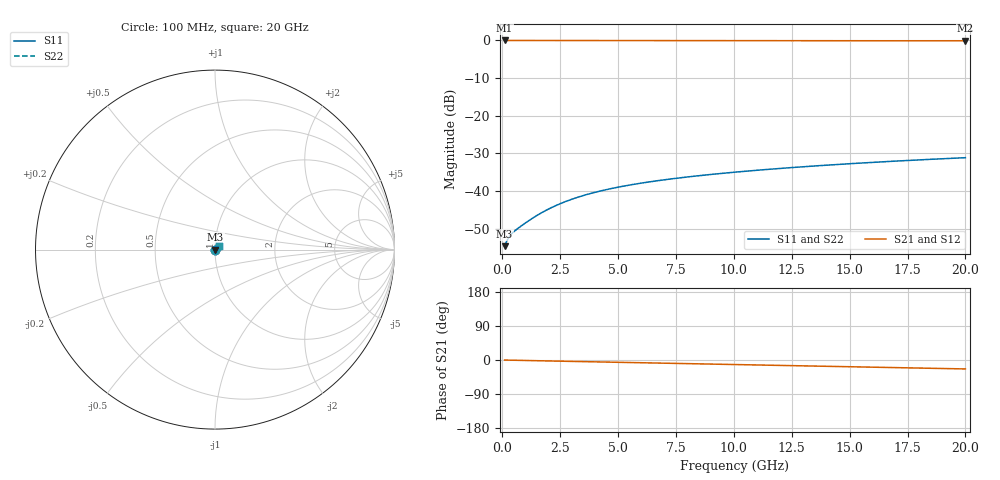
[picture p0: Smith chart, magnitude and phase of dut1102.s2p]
! Touchstone file exported from HFSS 2026.1.0
!  File:  C:/ffzhzh/LocalFiles/Ansys_Project_Files/temp_train_BSMRDL_1102_1783174796_51560.aedt
!  Generated:  10:21:06 PM Jul  4, 2026
!  Design:  BSMRDL
!  Project:  temp_train_BSMRDL_1102_1783174796_51560
! Variables:
!  h_bsmrdl = 5.19um
!  h_ox = 20um
!  h_rdl = 5um
!  h_sub = 80um
!  h_tmrdl = 5um
!  h_tsv = 80um
!  h_via = 3um
!  l_bsmrdl = 421.66um
!  l_sub = 821.66um
!  l_tmrdl = 200um
!  m_sub = 200um
!  pitch = 23.77um
!  r_tsv = 6um
!  s_tmrdl = 10um
!  w_bsmrdl = 18.38um
!  w_sub = 500um
!  w_tmrdl = 12um
!  x_tsv_center1 = 206um
!  x_tsv_center2 = 646.04um
!  x_tsv_center3 = 858.04um
!  x_tsv_center4 = 1298.08um
!  x_tsv_center5 = 1510.08um
!  x_tsv_center6 = 1950.12um
# GHz S MA R 50.000000
! Terminal data exported
! Port[1] = BSM_RDL1_1_T1
! Port[2] = BSM_RDL1_1_T2
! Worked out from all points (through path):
!   200 points, 100 MHz to 20 GHz, reference 50 ohm
!   highest |S21| = -0.02 dB at 100 MHz (marker M1); lowest = -0.1 dB at 20 GHz (marker M2)
!   group delay of S21, straight-line fit = 3.26 ps
!   lowest |S11| = -54.7 dB at 100 MHz (marker M3), VSWR 1.00, Z = 50.2 + j0.0532 ohm
!   |S11| at or under -10 dB: start of sweep to end of sweep
!   |S22| runs from -54.7 to -31.2 dB; largest |S21 - S12| = 4e-15
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0.1  0.001845 16.7  0.9982 -0.1  0.9982 -0.1  0.001845 16.7
! Gamma 0 0 0 0
! Port Impedance 50 0 50 0
0.2  0.002181 24.5  0.998 -0.3  0.998 -0.3  0.002181 24.5
0.3  0.002466 28.1  0.9978 -0.4  0.9978 -0.4  0.002465 28.0
0.4  0.002688 30.5  0.9977 -0.5  0.9977 -0.5  0.002688 30.5
0.5  0.002877 32.8  0.9976 -0.6  0.9976 -0.6  0.002876 32.8
0.7  0.003223 37.3  0.9974 -0.9  0.9974 -0.9  0.003223 37.3
1  0.003757 43.0  0.9973 -1.3  0.9973 -1.3  0.003756 43.0
1.3  0.004331 47.3  0.9971 -1.6  0.9971 -1.6  0.00433 47.3
1.8  0.00534 51.8  0.9968 -2.2  0.9968 -2.2  0.00534 51.8
2.3  0.006363 54.0  0.9965 -2.8  0.9965 -2.8  0.006363 54.0
2.9  0.007557 55.1  0.996 -3.6  0.996 -3.6  0.007557 55.1
3.5  0.008689 55.3  0.9956 -4.3  0.9956 -4.3  0.008688 55.3
4.2  0.00992 54.9  0.995 -5.1  0.995 -5.1  0.009919 54.9
5  0.01122 54.2  0.9944 -6.1  0.9944 -6.1  0.01122 54.2
5.8  0.01241 53.4  0.9938 -7.0  0.9938 -7.0  0.01241 53.4
6.8  0.0138 52.3  0.9931 -8.2  0.9931 -8.2  0.0138 52.4
8.3  0.01571 50.9  0.9922 -10.0  0.9922 -10.0  0.0157 50.9
10.1  0.01782 49.3  0.9913 -12.1  0.9913 -12.1  0.01781 49.3
11.7  0.01958 47.9  0.9905 -13.9  0.9905 -13.9  0.01957 47.9
13.4  0.02137 46.5  0.9898 -15.9  0.9898 -15.9  0.02136 46.5
16.7  0.02463 43.5  0.9885 -19.8  0.9885 -19.8  0.02461 43.6
20  0.02765 40.5  0.9873 -23.6  0.9873 -23.6  0.02762 40.5
